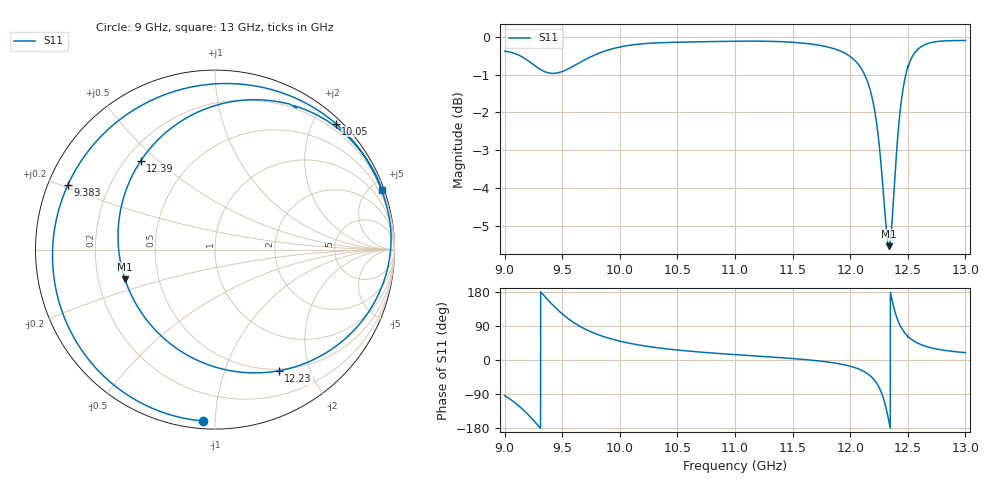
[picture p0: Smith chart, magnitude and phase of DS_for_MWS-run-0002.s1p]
! TOUCHSTONE file generated by CST DESIGN STUDIO
! Date and time: Tue Feb  4 16:25:36 2025
! Project name: C:\Work\MatlabApps\UnitCellOptimizationMatlab\CST\unitcell.cst
! Tree item: Tasks\Sweep1\SPara1\S-Parameters
! Header version: 2024
! Port assignment regex: !\s*Touchstone port\s*([0-9]+)\s*=\s*(CST MWS port|CST DES external port|CST DES block port)\s*(.+)\s* \(\"(.*)\"\)(\s*mode\s*([0-9]+))?.*
! Touchstone port assignment:
! Touchstone port 1 = CST DES external port 1 ("")
# GHz S MA R 50
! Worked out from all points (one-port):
!   4001 points, 9 GHz to 13 GHz, reference 50 ohm
!   lowest |S11| = -5.5 dB at 12.34 GHz (marker M1), VSWR 3.24, Z = 15.8 - j7.26 ohm
!   |S11| at or under -10 dB: nowhere
!   S11 on the Smith chart (normalised r, x): 9 GHz: 0.04, -0.93; 9.383 GHz: 0.06, +0.21; 10.05 GHz: 0.09, +2.34; 12.23 GHz: 0.48, -1.55; 12.39 GHz: 0.26, +0.44; 13 GHz: 0.20, +5.81
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9  0.957 -93.9
9.089  0.9502 -112.6
9.169  0.937 -133.7
9.28  0.9115 -169.0
9.383  0.8955 156.3
9.5  0.8995 121.8
9.605  0.9159 97.8
9.74  0.9394 75.6
10  0.9692 49.7
10.052  0.9725 46.2
10.5  0.9835 26.3
11  0.9865 14.2
11.5  0.9832 3.8
11.799  0.9697 -5.1
12  0.9414 -16.4
12.142  0.8788 -34.4
12.232  0.763 -62.2
12.288  0.6201 -100.5
12.311  0.5587 -126.2
12.336  0.5281 -161.7
12.36  0.5604 162.5
12.386  0.6445 130.0
12.409  0.7256 108.3
12.434  0.7991 90.8
12.5  0.9104 62.6
12.57  0.9562 47.0
12.662  0.9781 35.6
13  0.9887 19.5
